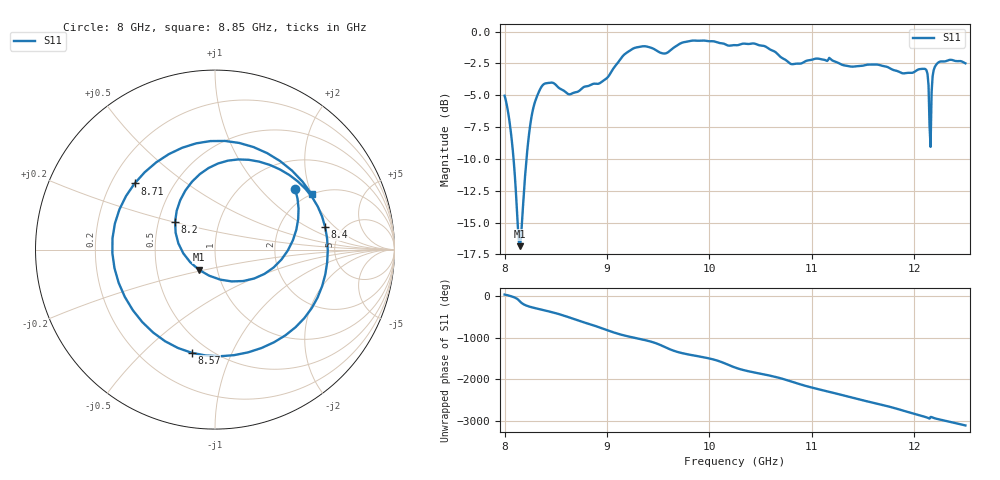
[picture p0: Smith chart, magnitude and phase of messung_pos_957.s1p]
#  HZ  S  RI  R  50.00
! Rohde & Schwarz Vector Network Analyzer
! Rohde-Schwarz,ZNA43-4Port,1332450044101932,2.92
! Created: UTC 6/1/2026, 11:33:59 AM
! freq[Hz]  re:S11  im:S11
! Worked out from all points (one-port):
!   451 points, 8 GHz to 12.5 GHz, reference 50 ohm
!   lowest |S11| = -16.9 dB at 8.15 GHz (marker M1), VSWR 1.34, Z = 40.8 - j9.4 ohm
!   |S11| at or under -10 dB: 8.087 GHz to 8.214 GHz (126.6 MHz wide, 1.55 % of centre)
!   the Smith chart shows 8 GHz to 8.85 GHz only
!   S11 on the Smith chart (normalised r, x): 8 GHz: 1.62, +1.61; 8.2 GHz: 0.61, +0.20; 8.4 GHz: 3.69, +1.51; 8.57 GHz: 0.41, -0.71; 8.71 GHz: 0.30, +0.33; 8.85 GHz: 1.99, +2.00
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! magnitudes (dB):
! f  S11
! 8 GHz  -5.0
! 8.06 GHz  -7.8
! 8.13 GHz  -15.4
! 8.15 GHz  -16.9
! 8.17 GHz  -15.0
! 8.2 GHz  -11.3
! 8.24 GHz  -8.0
! 8.28 GHz  -6.0
! 8.4 GHz  -4.1
! 8.57 GHz  -4.6
! 8.71 GHz  -4.7
! 8.85 GHz  -4.1
! 9.13 GHz  -2.2
! 9.29 GHz  -1.2
! 9.56 GHz  -1.7
! 9.69 GHz  -1.1
! 10.25 GHz  -1.1
! 10.54 GHz  -1.1
! 10.82 GHz  -2.6
! 11.38 GHz  -2.7
! 11.94 GHz  -3.2
! 12.11 GHz  -2.9
! 12.14 GHz  -4.2
! 12.16 GHz  -9.1
! 12.17 GHz  -4.8
! 12.19 GHz  -3.0
! 12.22 GHz  -2.5
! 12.5 GHz  -2.5
